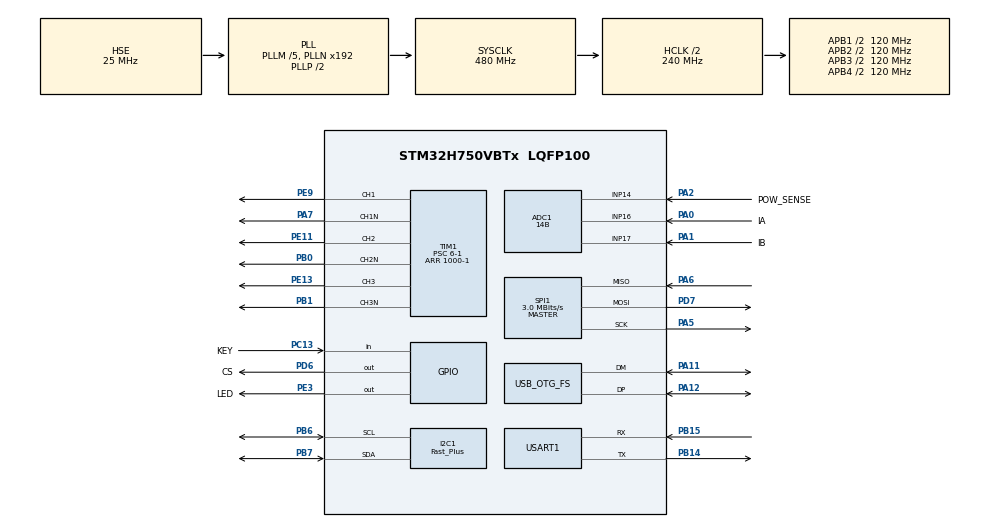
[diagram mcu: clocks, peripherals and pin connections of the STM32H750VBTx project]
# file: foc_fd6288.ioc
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ADC1.Channel-0\#ChannelRegularConversion=ADC_CHANNEL_14
ADC1.ContinuousConvMode=ENABLE
ADC1.ConversionDataManagement=ADC_CONVERSIONDATA_DMA_CIRCULAR
ADC1.EnableInjectedConversion=ENABLE
ADC1.ExternalTrigInjecConv=ADC_EXTERNALTRIGINJEC_T1_TRGO
ADC1.ExternalTrigInjecConvEdge=ADC_EXTERNALTRIGINJECCONV_EDGE_FALLING
ADC1.InjNumberOfConversion=2
ADC1.InjectedChannel-1\#ChannelInjectedConversion=ADC_CHANNEL_16
ADC1.InjectedChannel-2\#ChannelInjectedConversion=ADC_CHANNEL_17
ADC1.InjectedConvMode=Discontinuous
ADC1.InjectedOffsetNumber-1\#ChannelInjectedConversion=ADC_OFFSET_NONE
ADC1.InjectedOffsetNumber-2\#ChannelInjectedConversion=ADC_OFFSET_NONE
ADC1.InjectedRank-1\#ChannelInjectedConversion=1
ADC1.InjectedRank-2\#ChannelInjectedConversion=2
ADC1.InjectedSamplingTime-1\#ChannelInjectedConversion=ADC_SAMPLETIME_2CYCLES_5
ADC1.InjectedSamplingTime-2\#ChannelInjectedConversion=ADC_SAMPLETIME_2CYCLES_5
ADC1.NbrOfConversion=1
ADC1.NbrOfConversionFlag=1
ADC1.OffsetNumber-0\#ChannelRegularConversion=ADC_OFFSET_NONE
ADC1.OffsetSignedSaturation-0\#ChannelRegularConversion=DISABLE
ADC1.Rank-0\#ChannelRegularConversion=1
ADC1.Resolution=ADC_RESOLUTION_14B
ADC1.SamplingTime-0\#ChannelRegularConversion=ADC_SAMPLETIME_64CYCLES_5
ADC1.master=1
Dma.ADC1.0.Direction=DMA_PERIPH_TO_MEMORY
Dma.ADC1.0.EventEnable=DISABLE
Dma.ADC1.0.FIFOMode=DMA_FIFOMODE_DISABLE
Dma.ADC1.0.Instance=DMA1_Stream0
Dma.ADC1.0.MemDataAlignment=DMA_MDATAALIGN_WORD
Dma.ADC1.0.MemInc=DMA_MINC_ENABLE
Dma.ADC1.0.Mode=DMA_CIRCULAR
Dma.ADC1.0.PeriphDataAlignment=DMA_PDATAALIGN_WORD
Dma.ADC1.0.PeriphInc=DMA_PINC_DISABLE
Dma.ADC1.0.Polarity=HAL_DMAMUX_REQ_GEN_RISING
Dma.ADC1.0.Priority=DMA_PRIORITY_LOW
Dma.ADC1.0.RequestNumber=1
Dma.ADC1.0.SignalID=NONE
Dma.ADC1.0.SyncEnable=DISABLE
Dma.ADC1.0.SyncPolarity=HAL_DMAMUX_SYNC_NO_EVENT
Dma.ADC1.0.SyncRequestNumber=1
Dma.ADC1.0.SyncSignalID=NONE
Dma.Request0=ADC1
I2C1.I2C_Speed_Mode=I2C_Fast_Plus
I2C1.Speed=1000
I2C1.Timing=0x0050174F
Mcu.Family=STM32H7
Mcu.Name=STM32H750VBTx
Mcu.Package=LQFP100
NVIC.ADC_IRQn=true\:0\:0\:false\:false\:true\:true\:true
NVIC.DMA1_Stream0_IRQn=true\:0\:0\:false\:false\:true\:false\:true
NVIC.OTG_FS_IRQn=true\:0\:0\:false\:false\:true\:false\:true
NVIC.PriorityGroup=NVIC_PRIORITYGROUP_4
PA0.GPIO_Label=IA
PA0.Mode=IN16-Single-Ended
PA0.Signal=ADC1_INP16
PA1.GPIO_Label=IB
PA1.Mode=IN17-Single-Ended
PA1.Signal=ADC1_INP17
PA11.Mode=Device_Only
PA11.Signal=USB_OTG_FS_DM
PA12.Mode=Device_Only
PA12.Signal=USB_OTG_FS_DP
PA2.GPIO_Label=POW_SENSE
PA2.Signal=ADCx_INP14
PA5.Mode=Full_Duplex_Master
PA5.Signal=SPI1_SCK
PA6.Mode=Full_Duplex_Master
PA6.Signal=SPI1_MISO
PA7.GPIO_Speed=GPIO_SPEED_FREQ_VERY_HIGH
PA7.Mode=PWM Generation1 CH1 CH1N
PA7.Signal=TIM1_CH1N
PB0.GPIO_Speed=GPIO_SPEED_FREQ_VERY_HIGH
PB0.Mode=PWM Generation2 CH2 CH2N
PB0.Signal=TIM1_CH2N
PB1.GPIO_Speed=GPIO_SPEED_FREQ_VERY_HIGH
PB1.Mode=PWM Generation3 CH3 CH3N
PB1.Signal=TIM1_CH3N
PB14.Mode=Asynchronous
PB14.Signal=USART1_TX
PB15.Mode=Asynchronous
PB15.Signal=USART1_RX
PB6.Mode=I2C
PB6.Signal=I2C1_SCL
PB7.Mode=I2C
PB7.Signal=I2C1_SDA
PC13.GPIO_Label=KEY
PC13.GPIO_PuPd=GPIO_PULLDOWN
PC13.Signal=GPIO_Input
PD6.GPIO_Label=CS
PD6.Signal=GPIO_Output
PD7.Mode=Full_Duplex_Master
PD7.Signal=SPI1_MOSI
PE11.GPIO_Speed=GPIO_SPEED_FREQ_VERY_HIGH
PE11.Signal=S_TIM1_CH2
PE13.GPIO_Speed=GPIO_SPEED_FREQ_VERY_HIGH
PE13.Signal=S_TIM1_CH3
PE3.GPIO_Label=LED
PE3.Signal=GPIO_Output
PE9.GPIO_Speed=GPIO_SPEED_FREQ_VERY_HIGH
PE9.Signal=S_TIM1_CH1
PH0-OSC_IN\ (PH0).Mode=HSE-External-Oscillator
PH0-OSC_IN\ (PH0).Signal=RCC_OSC_IN
PH1-OSC_OUT\ (PH1).Mode=HSE-External-Oscillator
PH1-OSC_OUT\ (PH1).Signal=RCC_OSC_OUT
ProjectManager.HeapSize=0x200
ProjectManager.StackSize=0x400
ProjectManager.TargetToolchain=STM32CubeIDE
RCC.ADCFreq_Value=150000000
RCC.APB1Freq_Value=120000000
RCC.APB2Freq_Value=120000000
RCC.APB3Freq_Value=120000000
RCC.APB4Freq_Value=120000000
RCC.CortexFreq_Value=480000000
RCC.D1PPRE=RCC_APB3_DIV2
RCC.D2PPRE1=RCC_APB1_DIV2
RCC.D2PPRE2=RCC_APB2_DIV2
RCC.D3PPRE=RCC_APB4_DIV2
RCC.DIVM1=5
RCC.DIVM2=2
RCC.DIVN1=192
RCC.DIVN2=12
RCC.DIVP2=1
RCC.DIVQ1=5
RCC.HCLKFreq_Value=240000000
RCC.HPRE=RCC_HCLK_DIV2
RCC.PLL2FRACN=0
RCC.PLL3FRACN=0
RCC.PLLFRACN=0
RCC.PLLSourceVirtual=RCC_PLLSOURCE_HSE
RCC.SYSCLKFreq_VALUE=480000000
RCC.SYSCLKSource=RCC_SYSCLKSOURCE_PLLCLK
RCC.USBCLockSelection=RCC_USBCLKSOURCE_HSI48
RCC.USBFreq_Value=48000000
SH.ADCx_INP14.0=ADC1_INP14,IN14-Single-Ended
SH.S_TIM1_CH1.0=TIM1_CH1,PWM Generation1 CH1 CH1N
SH.S_TIM1_CH2.0=TIM1_CH2,PWM Generation2 CH2 CH2N
SH.S_TIM1_CH3.0=TIM1_CH3,PWM Generation3 CH3 CH3N
SPI1.BaudRatePrescaler=SPI_BAUDRATEPRESCALER_64
SPI1.CLKPhase=SPI_PHASE_2EDGE
SPI1.CalculateBaudRate=3.0 MBits/s
SPI1.DataSize=SPI_DATASIZE_16BIT
SPI1.Direction=SPI_DIRECTION_2LINES
SPI1.Mode=SPI_MODE_MASTER
SPI1.VirtualType=VM_MASTER
TIM1.Channel-PWM\ Generation1\ CH1\ CH1N=TIM_CHANNEL_1
TIM1.Channel-PWM\ Generation2\ CH2\ CH2N=TIM_CHANNEL_2
TIM1.Channel-PWM\ Generation3\ CH3\ CH3N=TIM_CHANNEL_3
TIM1.Channel-PWM\ Generation4\ No\ Output=TIM_CHANNEL_4
TIM1.CounterMode=TIM_COUNTERMODE_CENTERALIGNED1
TIM1.Period=1000-1
TIM1.Prescaler=6-1
TIM1.TIM_MasterOutputTrigger=TIM_TRGO_OC4REF
USART1.VirtualMode-Asynchronous=VM_ASYNC
USB_DEVICE.CLASS_NAME_FS=CDC
USB_DEVICE.VirtualMode-CDC_FS=Cdc
USB_DEVICE.VirtualModeFS=Cdc_FS
USB_OTG_FS.VirtualMode=Device_Only
VP_TIM1_VS_ClockSourceINT.Mode=Internal
VP_TIM1_VS_no_output4.Mode=PWM Generation4 No Output
VP_USB_DEVICE_VS_USB_DEVICE_CDC_FS.Mode=CDC_FS
board=custom

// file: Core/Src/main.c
/* USER CODE BEGIN Header */
/**
  ******************************************************************************
  * @file           : main.c
  * @brief          : Main program body
  ******************************************************************************
  * @attention
  *
  * <h2><center>&copy; Copyright (c) 2022 STMicroelectronics.
  * All rights reserved.</center></h2>
  *
  * This software component is licensed by ST under BSD 3-Clause license,
  * the "License"; You may not use this file except in compliance with the
  * License. You may obtain a copy of the License at:
  *                        opensource.org/licenses/BSD-3-Clause
  *
  ******************************************************************************
  */
/* USER CODE END Header */
#include "main.h"
#include "adc.h"
#include "dma.h"
#include "i2c.h"
#include "spi.h"
#include "tim.h"
#include "usart.h"
#include "usb_device.h"
#include "gpio.h"
/* USER CODE BEGIN Includes */
#include "stdio.h"
#include "stdarg.h"
#include "foc.h"
#include "usbd_cdc_if.h"
/* USER CODE END Includes */

void SystemClock_Config(void);
/* USER CODE BEGIN PFP */
float pid_process(PID*pid,float aim,float cur);
/* USER CODE END PFP */

/* USER CODE BEGIN 0 */
extern FOC motor;
extern uint32_t adc_data[3];
uint8_t loop_start=0;
uint8_t adc_inject_flag=0;
float aim_q=0,aim_d=5,aim_p;
/* USER CODE END 0 */

int main(void)
{
  /* USER CODE BEGIN 1 */
    motor.Id_pi.k_p=2;
    motor.Id_pi.k_i=0.01f;
    motor.Id_pi.k_d=0;

    motor.Iq_pi.k_p=1;
    motor.Iq_pi.k_i=0.05f;
    motor.Iq_pi.k_d=0;

    motor.Pos_pid.k_p=0;
    motor.Pos_pid.k_i=0;
    motor.Pos_pid.k_d=0;
    aim_p=0;
  /* USER CODE END 1 */

  /* MCU Configuration--------------------------------------------------------*/

  /* Reset of all peripherals, Initializes the Flash interface and the Systick. */
  HAL_Init();

  /* Configure the system clock */
  SystemClock_Config();

  /* Initialize all configured peripherals */
  MX_GPIO_Init();
  MX_DMA_Init();
  MX_TIM1_Init();
  MX_USART1_UART_Init();
  MX_I2C1_Init();
  MX_ADC1_Init();
  MX_SPI1_Init();
  MX_USB_DEVICE_Init();
  /* USER CODE BEGIN 2 */
    UART_printf(&huart1,"%d\n",foc_init(&motor));
    foc_zero_offset(&motor);
    TIM1->CCR4=950;
    loop_start=1;
    uint32_t tick=HAL_GetTick();
  /* USER CODE END 2 */

  /* Infinite loop */
  while (1)
  {

    /* USER CODE BEGIN 3 */
    if(HAL_GPIO_ReadPin(GPIOC,GPIO_PIN_13)==1)
    {
        if(HAL_GetTick()-tick>500)
        {
            tick=HAL_GetTick();
            aim_d=-1*aim_d;
//            aim_d=0.5;
        }
    }
    if(adc_inject_flag)
    {
        //UART_printf(&huart1,"a=%.2f,b=%.2f,c=%.2f\n",motor.i_a,motor.i_b,motor.i_c);
        //UART_printf(&huart1,"a=%d,b=%d,c=%d\n",(int)motor.svm_v.duty_a,(int)motor.svm_v.duty_b,(int)motor.svm_v.duty_c);
       // UART_printf(&huart1,"a=%.2f\n",motor.sin_val);
       // UART_printf(&huart1,"%.2f\n",motor.Id_pi.sum_error);
       UART_printf(&huart1,"angle=%.2f\n",motor.angle);
        adc_inject_flag=0;
    }
  }
  /* USER CODE END 3 */
}

void SystemClock_Config(void)
{
  RCC_OscInitTypeDef RCC_OscInitStruct = {0};
  RCC_ClkInitTypeDef RCC_ClkInitStruct = {0};
  RCC_PeriphCLKInitTypeDef PeriphClkInitStruct = {0};

  /** Supply configuration update enable
  */
  HAL_PWREx_ConfigSupply(PWR_LDO_SUPPLY);
  /** Configure the main internal regulator output voltage
  */
  __HAL_PWR_VOLTAGESCALING_CONFIG(PWR_REGULATOR_VOLTAGE_SCALE0);

  while(!__HAL_PWR_GET_FLAG(PWR_FLAG_VOSRDY)) {}
  /** Macro to configure the PLL clock source
  */
  __HAL_RCC_PLL_PLLSOURCE_CONFIG(RCC_PLLSOURCE_HSE);
  /** Initializes the RCC Oscillators according to the specified parameters
  * in the RCC_OscInitTypeDef structure.
  */
  RCC_OscInitStruct.OscillatorType = RCC_OSCILLATORTYPE_HSI48|RCC_OSCILLATORTYPE_HSE;
  RCC_OscInitStruct.HSEState = RCC_HSE_ON;
  RCC_OscInitStruct.HSI48State = RCC_HSI48_ON;
  RCC_OscInitStruct.PLL.PLLState = RCC_PLL_ON;
  RCC_OscInitStruct.PLL.PLLSource = RCC_PLLSOURCE_HSE;
  RCC_OscInitStruct.PLL.PLLM = 5;
  RCC_OscInitStruct.PLL.PLLN = 192;
  RCC_OscInitStruct.PLL.PLLP = 2;
  RCC_OscInitStruct.PLL.PLLQ = 5;
  RCC_OscInitStruct.PLL.PLLR = 2;
  RCC_OscInitStruct.PLL.PLLRGE = RCC_PLL1VCIRANGE_2;
  RCC_OscInitStruct.PLL.PLLVCOSEL = RCC_PLL1VCOWIDE;
  RCC_OscInitStruct.PLL.PLLFRACN = 0;
  if (HAL_RCC_OscConfig(&RCC_OscInitStruct) != HAL_OK)
  {
    Error_Handler();
  }
  /** Initializes the CPU, AHB and APB buses clocks
  */
  RCC_ClkInitStruct.ClockType = RCC_CLOCKTYPE_HCLK|RCC_CLOCKTYPE_SYSCLK
                              |RCC_CLOCKTYPE_PCLK1|RCC_CLOCKTYPE_PCLK2
                              |RCC_CLOCKTYPE_D3PCLK1|RCC_CLOCKTYPE_D1PCLK1;
  RCC_ClkInitStruct.SYSCLKSource = RCC_SYSCLKSOURCE_PLLCLK;
  RCC_ClkInitStruct.SYSCLKDivider = RCC_SYSCLK_DIV1;
  RCC_ClkInitStruct.AHBCLKDivider = RCC_HCLK_DIV2;
  RCC_ClkInitStruct.APB3CLKDivider = RCC_APB3_DIV2;
  RCC_ClkInitStruct.APB1CLKDivider = RCC_APB1_DIV2;
  RCC_ClkInitStruct.APB2CLKDivider = RCC_APB2_DIV2;
  RCC_ClkInitStruct.APB4CLKDivider = RCC_APB4_DIV2;

  if (HAL_RCC_ClockConfig(&RCC_ClkInitStruct, FLASH_LATENCY_4) != HAL_OK)
  {
    Error_Handler();
  }
  PeriphClkInitStruct.PeriphClockSelection = RCC_PERIPHCLK_USART1|RCC_PERIPHCLK_SPI1
                              |RCC_PERIPHCLK_ADC|RCC_PERIPHCLK_I2C1
                              |RCC_PERIPHCLK_USB;
  PeriphClkInitStruct.PLL2.PLL2M = 2;
  PeriphClkInitStruct.PLL2.PLL2N = 12;
  PeriphClkInitStruct.PLL2.PLL2P = 1;
  PeriphClkInitStruct.PLL2.PLL2Q = 2;
  PeriphClkInitStruct.PLL2.PLL2R = 2;
  PeriphClkInitStruct.PLL2.PLL2RGE = RCC_PLL2VCIRANGE_3;
  PeriphClkInitStruct.PLL2.PLL2VCOSEL = RCC_PLL2VCOMEDIUM;
  PeriphClkInitStruct.PLL2.PLL2FRACN = 0;
  PeriphClkInitStruct.Spi123ClockSelection = RCC_SPI123CLKSOURCE_PLL;
  PeriphClkInitStruct.Usart16ClockSelection = RCC_USART16CLKSOURCE_D2PCLK2;
  PeriphClkInitStruct.I2c123ClockSelection = RCC_I2C123CLKSOURCE_D2PCLK1;
  PeriphClkInitStruct.UsbClockSelection = RCC_USBCLKSOURCE_HSI48;
  PeriphClkInitStruct.AdcClockSelection = RCC_ADCCLKSOURCE_PLL2;
  if (HAL_RCCEx_PeriphCLKConfig(&PeriphClkInitStruct) != HAL_OK)
  {
    Error_Handler();
  }
  /** Enable USB Voltage detector
  */
  HAL_PWREx_EnableUSBVoltageDetector();
}

/* USER CODE BEGIN 4 */
void HAL_ADCEx_InjectedConvCpltCallback(ADC_HandleTypeDef*hadc) //adc_callback
{

    adc_data[0]=HAL_ADCEx_InjectedGetValue(hadc,ADC_INJECTED_RANK_1);
    adc_data[1]=HAL_ADCEx_InjectedGetValue(hadc,ADC_INJECTED_RANK_2);
    motor.adc.so1=(float)adc_data[0]*3.3f/16384.0f-motor.adc.so1_offset;
    motor.adc.so2=(float)adc_data[1]*3.3f/16384.0f-motor.adc.so2_offset;
//    motor.adc.so1=(float)adc_data[0]*3.3f/16384.0f;
//    motor.adc.so2=(float)adc_data[1]*3.3f/16384.0f;
    if(loop_start)
    {
        foc_loop(&motor, 0,aim_d,aim_p);
        set_pwm((int)motor.svm_v.duty_a,(int)motor.svm_v.duty_b,(int)motor.svm_v.duty_c);
    }
    adc_inject_flag=1;
    HAL_GPIO_TogglePin(GPIOE,GPIO_PIN_3);
}
float pid_process(PID*pid,float aim,float cur)
{
    pid->error=aim-cur;
    pid->sum_error+=pid->error;
    pid->change_error=pid->error-pid->last_error;
    pid->last_error=pid->error;
    return pid->k_p*pid->error+pid->k_i*pid->sum_error+ pid->k_d*pid->change_error;
}
int UART_printf(UART_HandleTypeDef *huart, const char *fmt, ...) {
    va_list ap;
    va_start(ap, fmt);
    int length;
    char buffer[128];
    length = vsnprintf(buffer, 128, fmt, ap);
    HAL_UART_Transmit(huart,buffer,length,HAL_MAX_DELAY);
//    CDC_Transmit_FS((uint8_t*)buffer,length);
    va_end(ap);
    return length;
}
/* USER CODE END 4 */

void Error_Handler(void)
{
  __disable_irq();
  while (1)
  {
  }
}

/************************ (C) COPYRIGHT STMicroelectronics *****END OF FILE****/
